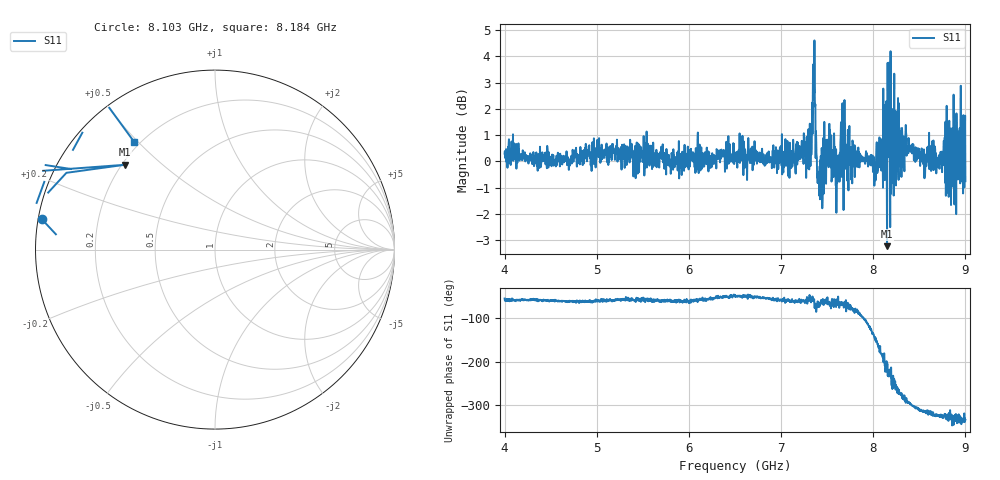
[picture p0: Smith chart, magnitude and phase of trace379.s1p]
! Created with skrf 1.8.0 (http://scikit-rf.org).
# Hz S RI R 50.0
!freq ReS11 ImS11
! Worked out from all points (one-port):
!   1601 points, 4 GHz to 9 GHz, reference 50 ohm
!   lowest |S11| = -3.2 dB at 8.15 GHz (marker M1), VSWR 5.44, Z = 10.6 + j19.1 ohm
!   |S11| at or under -10 dB: nowhere
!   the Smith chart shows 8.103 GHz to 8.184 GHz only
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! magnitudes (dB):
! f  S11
! 4 GHz  0.3
! 4.625 GHz  -0.1
! 5.25 GHz  0.1
! 5.875 GHz  0.3
! 6.5 GHz  0.2
! 7.125 GHz  -0.1
! 7.297 GHz  1.2
! 7.356 GHz  3.0
! 7.369 GHz  2.1
! 7.397 GHz  -0.8
! 7.412 GHz  -0.4
! 7.519 GHz  0.5
! 7.616 GHz  -0.7
! 7.669 GHz  0.7
! 7.75 GHz  0.1
! 8.034 GHz  0.4
! 8.15 GHz  -3.2
! 8.169 GHz  3.8
! 8.178 GHz  3.0
! 8.209 GHz  1.1
! 8.244 GHz  -0.1
! 8.312 GHz  1.3
! 8.375 GHz  0.6
! 8.556 GHz  -0.6
! 8.788 GHz  -1.3
! 8.825 GHz  1.5
! 8.972 GHz  0.4
! 9 GHz  -0.8
